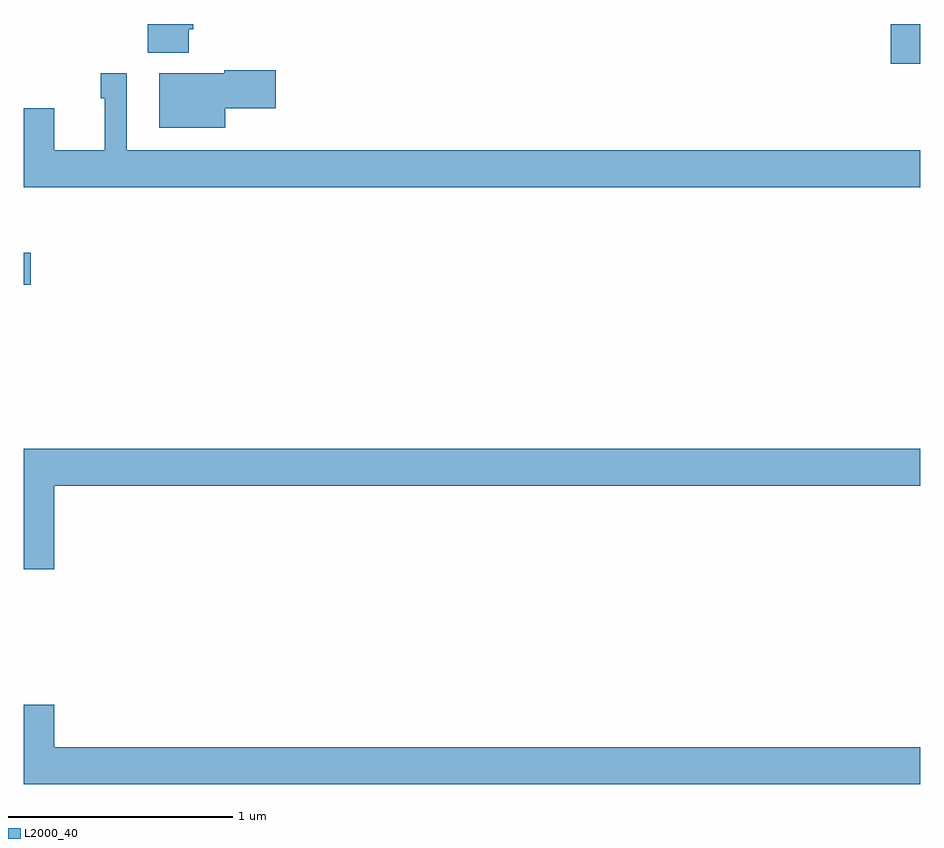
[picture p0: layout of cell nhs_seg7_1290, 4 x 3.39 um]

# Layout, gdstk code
import gdstk
lib = gdstk.Library(unit=1e-6, precision=1e-09)
def R(c, l, rs):  # rectangles x0, y0, x1, y1
    for r in rs: c.add(gdstk.rectangle(r[:2], r[2:], *l))
def P(c, l, *ps):  # polygons
    for p in ps: c.add(gdstk.Polygon(p, *l))
L2000_40 = (2000, 40)

nhs_seg7_1290 = lib.new_cell('nhs_seg7_1290')
R(nhs_seg7_1290, L2000_40, [(201,1010.837,201.031,1010.979), (204.87,1011.823,205,1012)])
P(nhs_seg7_1290, L2000_40, [(201.735,1011.976),(201.755,1011.976),(201.755,1012),(201.552,1012),(201.552,1011.872),(201.735,1011.872)],
  [(201.898,1011.623),(202.123,1011.623),(202.123,1011.794),(201.894,1011.794),(201.894,1011.781),(201.605,1011.781),(201.605,1011.536),(201.898,1011.536)],
  [(205,1011.436),(201.46,1011.436),(201.46,1011.781),(201.343,1011.781),(201.343,1011.668),(201.361,1011.668),(201.361,1011.436),(201.136,1011.436),(201.136,1011.625),(201,1011.625),(201,1011.272),(205,1011.272)],
  [(201.136,1009.94),(205,1009.94),(205,1010.104),(201,1010.104),(201,1009.566),(201.136,1009.566)],
  [(205,1008.772),(201.136,1008.772),(201.136,1008.961),(201,1008.961),(201,1008.608),(205,1008.608)])

lib.write_gds('nhs_seg7_1290.gds')
